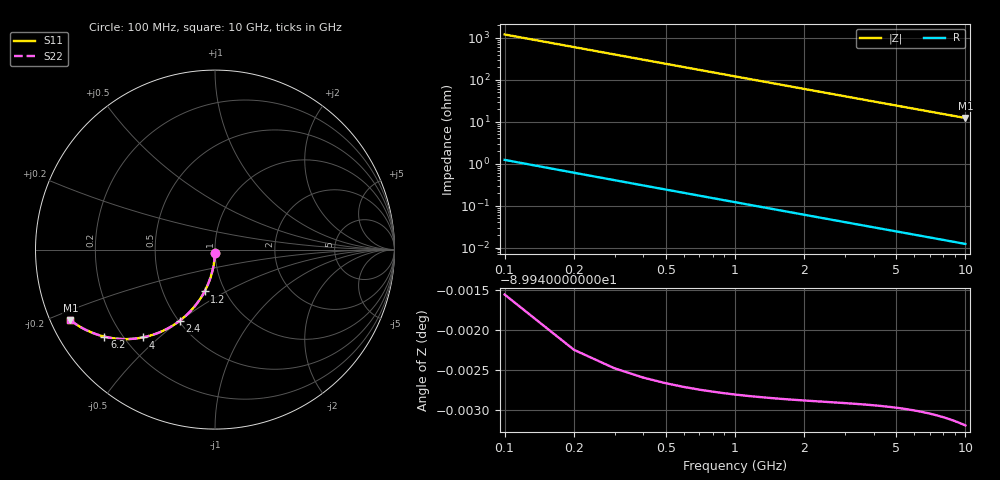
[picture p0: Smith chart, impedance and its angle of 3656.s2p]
# Hz S RI R 50.00
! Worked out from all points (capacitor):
!   100 points, 100 MHz to 10 GHz, reference 50 ohm
!   read as one part in shunt: C = 1.32 pF near 100 MHz
!   lowest |Z| = 12.3 ohm at 10 GHz (marker M1)
!   S11 on the Smith chart (normalised r, x): 100 MHz: 1.00, -0.04; 1.2 GHz: 0.80, -0.40; 2.4 GHz: 0.51, -0.50; 4 GHz: 0.27, -0.44; 6.2 GHz: 0.14, -0.34; 10 GHz: 0.06, -0.23
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1e8  -0.000445 -0.0206  0.9995 -0.0207  0.9995 -0.0207  -0.000445 -0.0206
2e8  -0.00174 -0.0412  0.9982 -0.0413  0.9982 -0.0413  -0.00174 -0.0412
3e8  -0.00389 -0.0617  0.9961 -0.0618  0.9961 -0.0618  -0.00389 -0.0617
4e8  -0.00686 -0.082  0.9931 -0.0821  0.9931 -0.0821  -0.00686 -0.082
5e8  -0.0107 -0.1021  0.9893 -0.1023  0.9893 -0.1023  -0.0107 -0.1021
6e8  -0.0152 -0.1219  0.9848 -0.1221  0.9848 -0.1221  -0.0152 -0.1219
7e8  -0.0206 -0.1414  0.9794 -0.1417  0.9794 -0.1417  -0.0206 -0.1414
9e8  -0.0335 -0.1794  0.9665 -0.1797  0.9665 -0.1797  -0.0335 -0.1794
1.2e9  -0.058 -0.233  0.942 -0.2334  0.942 -0.2334  -0.058 -0.233
1.5e9  -0.0875 -0.2818  0.9125 -0.2824  0.9125 -0.2824  -0.0875 -0.2818
1.8e9  -0.1211 -0.3255  0.8789 -0.3261  0.8789 -0.3261  -0.1211 -0.3255
2.1e9  -0.1577 -0.3636  0.8423 -0.3644  0.8423 -0.3644  -0.1577 -0.3636
2.4e9  -0.1962 -0.3962  0.8038 -0.3971  0.8038 -0.3971  -0.1962 -0.3962
2.9e9  -0.2623 -0.4389  0.7377 -0.4399  0.7377 -0.4399  -0.2623 -0.4389
3.4e9  -0.3277 -0.4683  0.6723 -0.4695  0.6723 -0.4695  -0.3277 -0.4683
4e9  -0.4022 -0.4891  0.5977 -0.4906  0.5977 -0.4906  -0.4022 -0.4891
5.1e9  -0.5214 -0.4981  0.4786 -0.5  0.4786 -0.5  -0.5214 -0.4981
6.2e9  -0.6161 -0.4847  0.3839 -0.4869  0.3839 -0.4869  -0.6161 -0.4847
6.7e9  -0.6518 -0.4747  0.3482 -0.4771  0.3482 -0.4771  -0.6518 -0.4747
7.5e9  -0.7007 -0.4561  0.2993 -0.4588  0.2993 -0.4588  -0.7007 -0.4561
8.4e9  -0.7457 -0.4335  0.2543 -0.4365  0.2543 -0.4365  -0.7457 -0.4335
1e10  -0.8057 -0.3934  0.1943 -0.397  0.1943 -0.397  -0.8057 -0.3934
